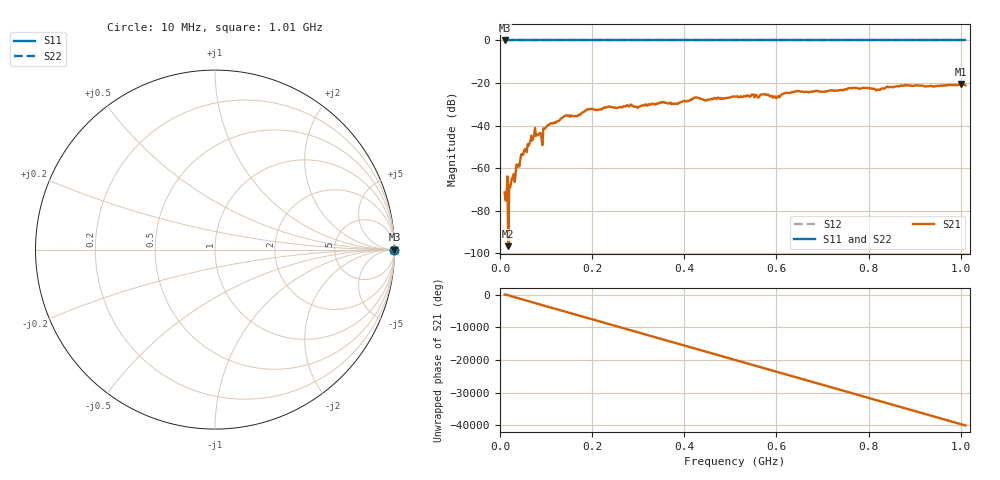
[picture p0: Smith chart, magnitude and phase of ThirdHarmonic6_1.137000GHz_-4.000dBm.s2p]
! 8/16/2025 11:07:25 AM
! C:\ANRITSUVNA\TEMP\TEMP.S2P
! CHANNEL.1
! TR.MEASUREMENT
! RAW.DATA
! RF.CORRECTION.OFF
! AVERAGING.OFF
! IF.BANDWIDTH: 5KHZ
! SWEEPTYPE:  FREQ.SWEEP(Linear)
! Reference Plane Port Info
! PORT:  PORT1  PORT2
! DISTANCE:  0  m  0  m
! TIME:  0  s  0  s
! PHASE.OFFSET:  0  deg.  0  deg.
! LOSS:  0  dB  0  dB
! REF.LOSS:  0  dB  0  dB
! REF.FREQ:  0  Hz  0  Hz
! Power Info
! POWER:  -20  dBm  -20  dBm
! EFF.POWER:  -20  dBm  -20  dBm
! SOURCE.ATTEN:  0  dB  0  dB
! TEST.ATTEN:  0  dB  0  dB
# GHZ S RI R 50.0
! FREQ.GHZ  S11RE  S11IM  S21RE  S21IM  S12RE  S12IM  S22RE  S22IM
!; PortSelection: Port_12
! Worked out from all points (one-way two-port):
!   501 points, 10 MHz to 1.01 GHz, reference 50 ohm
!   highest |S21| = -20.45 dB at 1 GHz (marker M1); lowest = -96.7 dB at 18 MHz (marker M2)
!   lowest |S11| = 0.0 dB at 10 MHz (marker M3)
!   |S11| at or under -10 dB: nowhere
!   |S22| runs from 0.0 to 0.0 dB; largest |S21 - S12| = 1.1
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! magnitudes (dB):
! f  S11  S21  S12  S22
! 10 MHz  0.0  -71.5  0.0  0.0
! 18 MHz  0.0  -96.7  0.0  0.0
! 50 MHz  0.0  -53.9  0.0  0.0
! 72 MHz  0.0  -45.7  0.0  0.0
! 80 MHz  0.0  -44.1  0.0  0.0
! 88 MHz  0.0  -43.6  0.0  0.0
! 94 MHz  0.0  -41.3  0.0  0.0
! 98 MHz  0.0  -41.3  0.0  0.0
! 140 MHz  0.0  -35.5  0.0  0.0
! 178 MHz  0.0  -34.0  0.0  0.0
! 194 MHz  0.0  -32.3  0.0  0.0
! 344 MHz  0.0  -29.6  0.0  0.0
! 382 MHz  0.0  -29.7  0.0  0.0
! 424 MHz  0.0  -26.9  0.0  0.0
! 510 MHz  0.0  -26.4  0.0  0.0
! 572 MHz  0.0  -25.4  0.0  0.0
! 596 MHz  0.0  -26.2  0.0  0.0
! 644 MHz  0.0  -23.9  0.0  0.0
! 678 MHz  0.0  -24.2  0.0  0.0
! 844 MHz  0.0  -22.0  0.0  0.0
! 1 GHz  0.0  -20.5  0.0  0.0
! 1.01 GHz  0.0  -21.1  0.0  0.0
